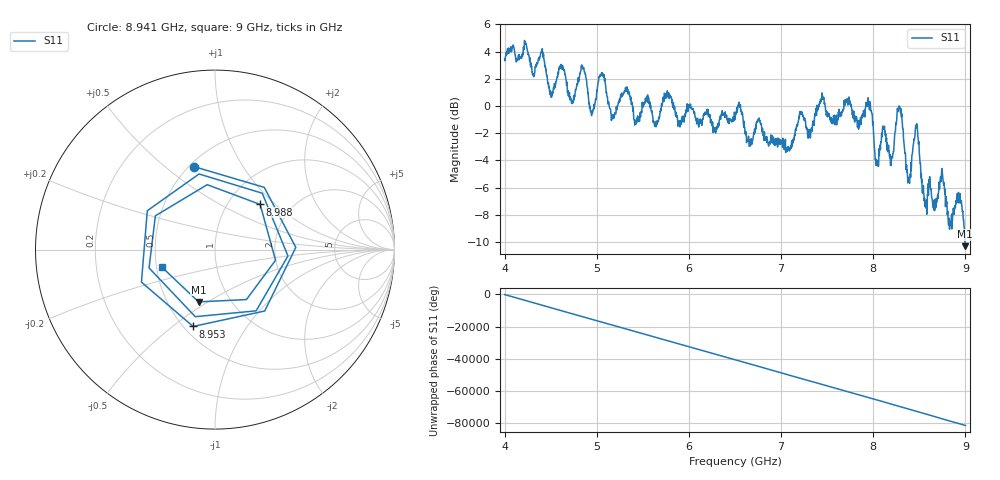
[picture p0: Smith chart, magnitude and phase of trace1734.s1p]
! Created with skrf 1.8.0 (http://scikit-rf.org).
# Hz S RI R 50.0
!freq ReS11 ImS11
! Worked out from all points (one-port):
!   1601 points, 4 GHz to 9 GHz, reference 50 ohm
!   lowest |S11| = -10.3 dB at 8.997 GHz (marker M1), VSWR 1.88, Z = 35.5 - j22.8 ohm
!   |S11| at or under -10 dB: 8.99558 GHz to end of sweep
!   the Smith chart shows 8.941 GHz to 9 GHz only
!   S11 on the Smith chart (normalised r, x): 8.941 GHz: 0.53, +0.63; 8.953 GHz: 0.56, -0.59; 8.988 GHz: 1.40, +0.81; 9 GHz: 0.53, -0.11
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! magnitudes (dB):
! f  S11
! 4 GHz  3.5
! 4.406 GHz  4.0
! 4.509 GHz  0.6
! 4.625 GHz  2.9
! 4.731 GHz  0.4
! 4.847 GHz  2.8
! 4.941 GHz  -0.6
! 5.047 GHz  2.3
! 5.166 GHz  -0.8
! 5.25 GHz  0.3
! 5.875 GHz  -0.9
! 6.5 GHz  -0.6
! 7.125 GHz  -2.5
! 7.441 GHz  0.5
! 7.75 GHz  0.1
! 7.966 GHz  0.1
! 8.041 GHz  -4.4
! 8.112 GHz  -1.7
! 8.2 GHz  -3.8
! 8.288 GHz  0.0
! 8.375 GHz  -5.7
! 8.466 GHz  -1.4
! 8.559 GHz  -7.1
! 8.941 GHz  -6.4
! 8.953 GHz  -7.0
! 8.988 GHz  -9.0
! 8.997 GHz  -10.3
! 9 GHz  -10.1
